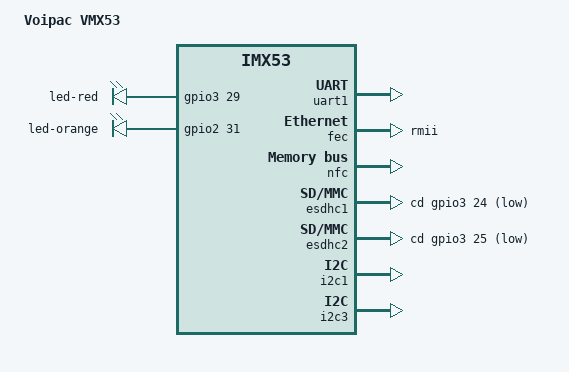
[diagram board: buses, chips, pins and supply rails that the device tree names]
/*
 * Copyright 2011 Freescale Semiconductor, Inc.
 * Copyright 2011 Linaro Ltd.
 * Copyright 2014 Voipac <support@voipac.com>
 *
 * The code contained herein is licensed under the GNU General Public
 * License. You may obtain a copy of the GNU General Public License
 * Version 2 or later at the following locations:
 *
 * http://www.opensource.org/licenses/gpl-license.html
 * http://www.gnu.org/copyleft/gpl.html
 */

/dts-v1/;
#include "imx53.dtsi"

/ {
	model = "Voipac VMX53";
	compatible = "voipac,imx53-vmx53", "fsl,imx53";

	chosen {
		linux,stdout-path = &uart1;

		environment@0 {
			compatible = "barebox,environment";
			device-path = &nfc, "partname:environment";
		};
	};

	leds {
		compatible = "gpio-leds";
		pinctrl-names = "default";
		pinctrl-0 = <&pinctrl_led>;

		red {
			label = "led-red";
			gpios = <&gpio3 29 0>;
			linux,default-trigger = "heartbeat";
		};

		orange {
			label = "led-orange";
			gpios = <&gpio2 31 0>;
			linux,default-trigger = "panic";
		};
	};
};

&iomuxc {
	pinctrl-names = "default";
	pinctrl-0 = <&pinctrl_hog>;

	imx53-vmx53 {
		pinctrl_hog: hoggrp {
			fsl,pins = <
				MX53_PAD_GPIO_17__GPIO7_12	0x80000000 // RESET_OUT
				MX53_PAD_GPIO_10__GPIO4_0	0x80000000 // SD1_SEL
				MX53_PAD_EIM_D24__GPIO3_24	0x80000000 // SD1_CD
				MX53_PAD_EIM_D25__GPIO3_25	0x80000000 // SD2_CD
				MX53_PAD_EIM_A19__GPIO2_19	0x80000000 // SD2_WP
			>;
		};
	};

	pinctrl_led: ledgrp {
		fsl,pins = <
			MX53_PAD_EIM_D29__GPIO3_29		0xC0
			MX53_PAD_EIM_EB3__GPIO2_31		0xC0
		>;
	};
};

&uart1 {
	pinctrl-names = "default";
	pinctrl-0 = <&pinctrl_uart1_2>;
	status = "okay";
};

&iim {
	barebox,provide-mac-address = <&fec 1 9>;
};

&fec {
	pinctrl-names = "default";
	pinctrl-0 = <&pinctrl_fec_1>;
	phy-mode = "rmii";
	status = "okay";
};

&nfc {
	pinctrl-names = "default";
	pinctrl-0 = <&pinctrl_nand_1>;
	#address-cells = <1>;
	#size-cells = <1>;
	nand-on-flash-bbt;
	nand-ecc-mode = "hw";
	nand-bus-width = <8>;
	status = "okay";

	partition@0 {
		label = "barebox";
		reg = <0x0 0x100000>;
	};

	partition@1 {
		label = "environment";
		reg = <0x100000 0x100000>;
	};

	partition@2 {
		label = "kernel";
		reg = <0x200000 0x400000>;
	};

	partition@3 {
		label = "rootfs";
		reg = <0x600000 0x07B00000>;
	};
};

&esdhc1 {
	pinctrl-names = "default";
	pinctrl-0 = <&pinctrl_esdhc1_1>;
	cd-gpios = <&gpio3 24 1>;
	fsl,wp-controller;
	status = "okay";
};

&esdhc2 {
	pinctrl-names = "default";
	pinctrl-0 = <&pinctrl_esdhc2_1>;
	cd-gpios = <&gpio3 25 1>;
	fsl,wp-controller;
	status = "okay";
};

&i2c1 {
	pinctrl-names = "default";
	pinctrl-0 = <&pinctrl_i2c1_2>;
	status = "okay";
};

&i2c3 {
	pinctrl-names = "default";
	pinctrl-0 = <&pinctrl_i2c3_2>;
	status = "okay";
};
